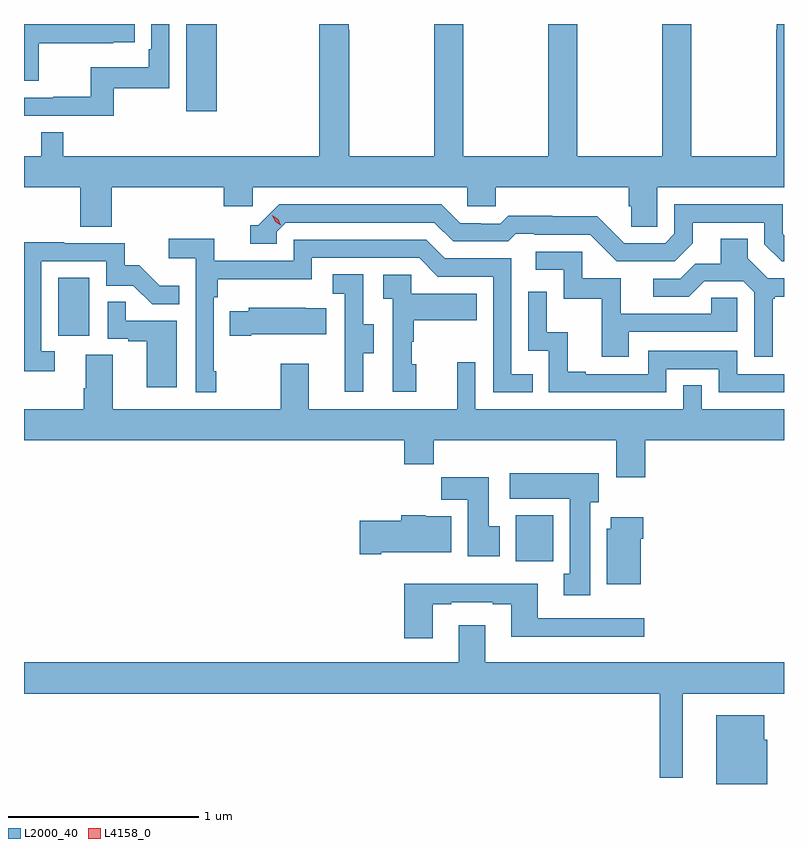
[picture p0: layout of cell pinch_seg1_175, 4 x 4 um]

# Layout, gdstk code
import gdstk
lib = gdstk.Library(unit=1e-6, precision=1e-09)
def R(c, l, rs):  # rectangles x0, y0, x1, y1
    for r in rs: c.add(gdstk.rectangle(r[:2], r[2:], *l))
def P(c, l, *ps):  # polygons
    for p in ps: c.add(gdstk.Polygon(p, *l))
L2000_40 = (2000, 40)
L4158_0 = (4158, 0)

pinch_seg1_175 = lib.new_cell('pinch_seg1_175')
R(pinch_seg1_175, L2000_40, [(1121.885,552.428,1122.082,552.67), (1119.476,553.614,1119.64,553.921), (1120.151,554.796,1120.312,555.256)])
P(pinch_seg1_175, L2000_40, [(1122.479,554.298),(1122.493,554.298),(1122.493,554.188),(1122.63,554.188),(1122.63,554.396),(1123.297,554.396),(1123.297,555.256),(1123.259,555.256),(1123.259,555.227),(1123.255,555.227),(1123.255,554.56),(1122.81,554.56),(1122.81,555.256),(1122.655,555.256),(1122.655,554.56),(1122.21,554.56),(1122.21,555.256),(1122.055,555.256),(1122.055,554.56),(1121.61,554.56),(1121.61,555.256),(1121.455,555.256),(1121.455,554.56),(1121.01,554.56),(1121.01,555.227),(1121.005,555.227),(1121.005,555.256),(1120.85,555.256),(1120.85,554.56),(1119.503,554.56),(1119.503,554.687),(1119.387,554.687),(1119.387,554.56),(1119.297,554.56),(1119.297,554.396),(1119.593,554.396),(1119.593,554.188),(1119.758,554.188),(1119.758,554.396),(1120.349,554.396),(1120.349,554.298),(1120.5,554.298),(1120.5,554.396),(1121.631,554.396),(1121.631,554.298),(1121.781,554.298),(1121.781,554.396),(1122.479,554.396)],
  [(1119.769,554.919),(1120.062,554.919),(1120.062,555.256),(1119.966,555.256),(1119.966,555.124),(1119.953,555.124),(1119.953,555.028),(1119.648,555.028),(1119.648,554.873),(1119.451,554.873),(1119.451,554.868),(1119.297,554.868),(1119.297,554.772),(1119.769,554.772)],
  [(1119.374,555.154),(1119.767,555.154),(1119.767,555.159),(1119.88,555.159),(1119.88,555.255),(1119.354,555.255),(1119.354,555.256),(1119.297,555.256),(1119.297,554.958),(1119.374,554.958)],
  [(1122.817,554.101),(1122.817,554.211),(1123.194,554.211),(1123.194,554.097),(1123.284,554.007),(1123.297,554.007),(1123.297,554.144),(1123.29,554.151),(1123.29,554.307),(1122.72,554.307),(1122.72,554.151),(1122.672,554.103),(1122.456,554.103),(1122.314,554.245),(1122.078,554.245),(1122.078,554.248),(1121.845,554.248),(1121.803,554.205),(1121.7,554.205),(1121.7,554.208),(1121.593,554.208),(1121.494,554.307),(1120.641,554.307),(1120.53,554.196),(1120.487,554.196),(1120.487,554.1),(1120.626,554.1),(1120.626,554.163),(1120.674,554.211),(1121.457,554.211),(1121.556,554.112),(1121.845,554.112),(1121.884,554.151),(1121.983,554.151),(1121.983,554.148),(1122.276,554.148),(1122.417,554.007),(1122.723,554.007)],
  [(1123.237,553.809),(1123.249,553.809),(1123.249,553.82),(1123.297,553.82),(1123.297,553.917),(1123.212,553.917),(1123.105,554.024),(1123.105,554.126),(1122.965,554.126),(1122.965,553.994),(1122.83,553.994),(1122.75,553.914),(1122.609,553.914),(1122.609,553.821),(1122.796,553.821),(1122.877,553.902),(1123.083,553.902),(1123.14,553.845),(1123.14,553.506),(1123.237,553.506)],
  [(1120.309,553.429),(1120.296,553.429),(1120.296,553.817),(1120.316,553.817),(1120.316,553.913),(1120.812,553.913),(1120.812,554.025),(1121.376,554.025),(1121.475,553.926),(1121.766,553.926),(1121.766,553.317),(1121.975,553.317),(1121.975,553.413),(1121.862,553.413),(1121.862,554.022),(1121.512,554.022),(1121.413,554.121),(1120.716,554.121),(1120.716,554.01),(1120.298,554.01),(1120.298,554.126),(1120.059,554.126),(1120.059,554.024),(1120.2,554.024),(1120.2,553.317),(1120.309,553.317)],
  [(1119.46,553.533),(1119.387,553.533),(1119.387,554.007),(1119.729,554.007),(1119.729,553.878),(1119.873,553.878),(1119.971,553.78),(1120.115,553.78),(1120.115,553.879),(1120.011,553.879),(1119.904,553.986),(1119.828,553.986),(1119.828,554.103),(1119.509,554.103),(1119.509,554.108),(1119.297,554.108),(1119.297,553.428),(1119.46,553.428)],
  [(1122.481,553.635),(1123.05,553.635),(1123.05,553.815),(1122.913,553.815),(1122.913,553.731),(1122.439,553.731),(1122.439,553.917),(1122.234,553.917),(1122.234,554.058),(1121.991,554.058),(1121.991,553.962),(1122.138,553.962),(1122.138,553.809),(1122.337,553.809),(1122.337,553.506),(1122.481,553.506)],
  [(1121.083,553.522),(1121.137,553.522),(1121.137,553.677),(1121.082,553.677),(1121.082,553.94),(1120.923,553.94),(1120.923,553.837),(1120.986,553.837),(1120.986,553.533),(1120.985,553.533),(1120.985,553.32),(1121.083,553.32)],
  [(1121.362,553.464),(1121.337,553.464),(1121.337,553.583),(1121.347,553.583),(1121.347,553.697),(1121.681,553.697),(1121.681,553.837),(1121.334,553.837),(1121.334,553.935),(1121.187,553.935),(1121.187,553.811),(1121.238,553.811),(1121.238,553.32),(1121.362,553.32)],
  [(1122.678,553.44),(1122.954,553.44),(1122.954,553.317),(1123.297,553.317),(1123.297,553.413),(1123.05,553.413),(1123.05,553.536),(1122.582,553.536),(1122.582,553.413),(1122.253,553.413),(1122.253,553.426),(1122.158,553.426),(1122.158,553.634),(1122.048,553.634),(1122.048,553.846),(1121.952,553.846),(1121.952,553.536),(1122.06,553.536),(1122.06,553.317),(1122.678,553.317)],
  [(1120.102,553.695),(1119.833,553.695),(1119.833,553.793),(1119.738,553.793),(1119.738,553.599),(1119.845,553.599),(1119.845,553.587),(1119.944,553.587),(1119.944,553.344),(1120.102,553.344)],
  [(1120.492,553.622),(1120.889,553.622),(1120.889,553.759),(1120.781,553.759),(1120.781,553.762),(1120.479,553.762),(1120.479,553.744),(1120.381,553.744),(1120.381,553.615),(1120.492,553.615)],
  [(1122.566,553.064),(1123.297,553.064),(1123.297,553.228),(1122.864,553.228),(1122.864,553.355),(1122.768,553.355),(1122.768,553.228),(1121.673,553.228),(1121.673,553.477),(1121.576,553.477),(1121.576,553.228),(1120.795,553.228),(1120.795,553.468),(1120.648,553.468),(1120.648,553.228),(1119.763,553.228),(1119.763,553.514),(1119.623,553.514),(1119.623,553.34),(1119.611,553.34),(1119.611,553.228),(1119.297,553.228),(1119.297,553.064),(1121.297,553.064),(1121.297,552.94),(1121.453,552.94),(1121.453,553.064),(1122.413,553.064),(1122.413,552.87),(1122.566,552.87)],
  [(1122.277,552.738),(1122.322,552.738),(1122.322,552.892),(1121.853,552.892),(1121.853,552.758),(1122.17,552.758),(1122.17,552.362),(1122.137,552.362),(1122.137,552.249),(1122.277,552.249)],
  [(1121.8,552.612),(1121.743,552.612),(1121.743,552.871),(1121.494,552.871),(1121.494,552.752),(1121.633,552.752),(1121.633,552.456),(1121.8,552.456)],
  [(1121.176,552.476),(1121.545,552.476),(1121.545,552.664),(1121.412,552.664),(1121.412,552.67),(1121.282,552.67),(1121.282,552.642),(1121.064,552.642),(1121.064,552.464),(1121.176,552.464)],
  [(1122.544,552.548),(1122.557,552.548),(1122.557,552.661),(1122.386,552.661),(1122.386,552.6),(1122.365,552.6),(1122.365,552.308),(1122.544,552.308)],
  [(1121.449,552.201),(1121.545,552.201),(1121.545,552.213),(1121.765,552.213),(1121.765,552.201),(1121.861,552.201),(1121.861,552.032),(1122.562,552.032),(1122.562,552.129),(1122.001,552.129),(1122.001,552.31),(1121.297,552.31),(1121.297,552.024),(1121.449,552.024)],
  [(1122.763,551.732),(1123.297,551.732),(1123.297,551.896),(1121.725,551.896),(1121.725,552.091),(1121.585,552.091),(1121.585,551.896),(1119.297,551.896),(1119.297,551.732),(1122.642,551.732),(1122.642,551.288),(1122.763,551.288)],
  [(1123.21,551.49),(1123.192,551.49),(1123.192,551.617),(1122.941,551.617),(1122.941,551.256),(1123.21,551.256)])
P(pinch_seg1_175, L4158_0, [(1120.649,554.196),(1120.619,554.216),(1120.603,554.249),(1120.603,554.25),(1120.603,554.25),(1120.634,554.229),(1120.649,554.196),(1120.649,554.196)])

lib.write_gds('pinch_seg1_175.gds')
